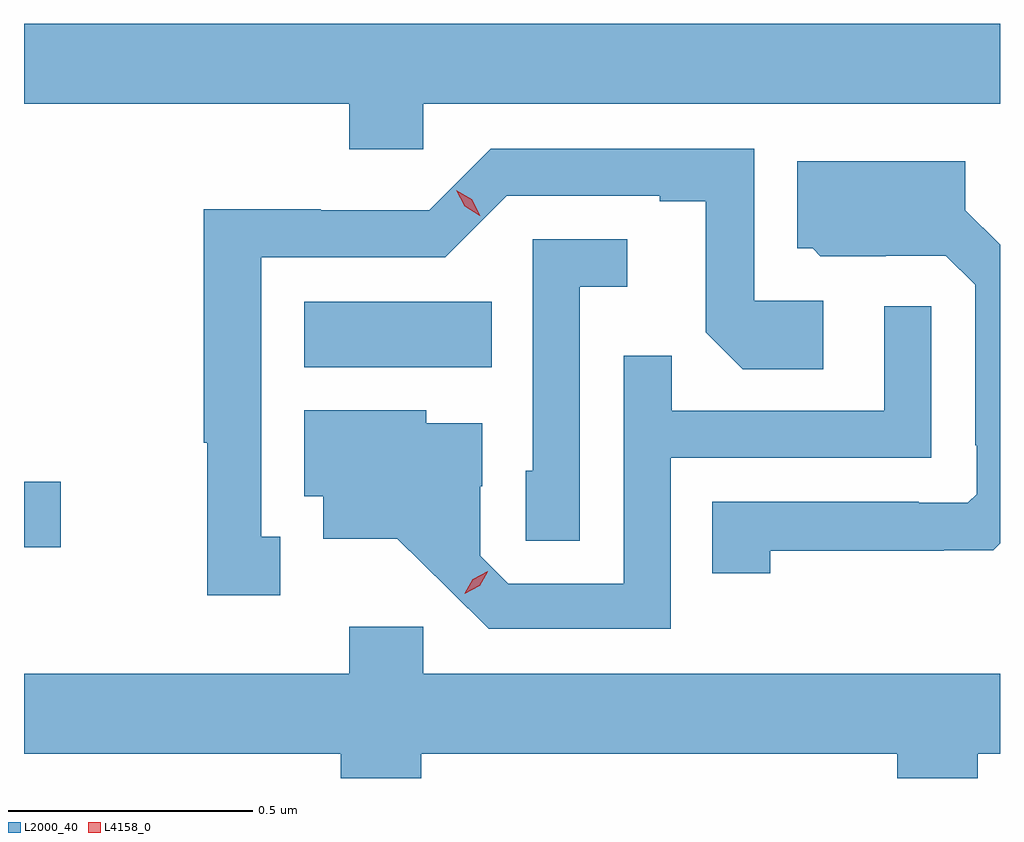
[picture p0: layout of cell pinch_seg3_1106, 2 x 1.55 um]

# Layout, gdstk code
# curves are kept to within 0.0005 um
import gdstk
lib = gdstk.Library(unit=1e-6, precision=1e-09)
def R(c, l, rs):  # rectangles x0, y0, x1, y1
    for r in rs: c.add(gdstk.rectangle(r[:2], r[2:], *l))
def P(c, l, *ps):  # polygons
    for p in ps: c.add(gdstk.Polygon(p, *l))
L2000_40 = (2000, 40)
L4158_0 = (4158, 0)

pinch_seg3_1106 = lib.new_cell('pinch_seg3_1106')
R(pinch_seg3_1106, L2000_40, [(323.722,677.363,323.797,677.498), (324.296,677.732,324.68,677.866)])
P(pinch_seg3_1106, L2000_40, [(324.54,678.272),(325.722,678.272),(325.722,678.436),(323.722,678.436),(323.722,678.272),(324.389,678.272),(324.389,678.179),(324.54,678.179)],
  [(324.247,677.385),(324.208,677.385),(324.208,677.958),(324.585,677.958),(324.711,678.084),(325.025,678.084),(325.025,678.072),(325.119,678.072),(325.119,677.804),(325.195,677.728),(325.36,677.728),(325.36,677.868),(325.218,677.868),(325.218,678.18),(324.678,678.18),(324.552,678.054),(324.33,678.054),(324.33,678.056),(324.09,678.056),(324.09,677.577),(324.097,677.577),(324.097,677.265),(324.247,677.265)],
  [(325.251,677.356),(325.607,677.356),(325.607,677.357),(325.708,677.357),(325.722,677.371),(325.722,677.983),(325.651,678.054),(325.651,678.154),(325.307,678.154),(325.307,677.976),(325.338,677.976),(325.354,677.96),(325.488,677.96),(325.488,677.961),(325.611,677.961),(325.671,677.901),(325.671,677.572),(325.674,677.572),(325.674,677.472),(325.656,677.454),(325.556,677.454),(325.556,677.457),(325.132,677.457),(325.132,677.31),(325.251,677.31)],
  [(324.861,677.897),(324.958,677.897),(324.958,677.994),(324.765,677.994),(324.765,677.52),(324.75,677.52),(324.75,677.377),(324.861,677.377)],
  [(325.047,677.547),(325.581,677.547),(325.581,677.857),(325.485,677.857),(325.485,677.643),(325.049,677.643),(325.049,677.756),(324.951,677.756),(324.951,677.289),(324.714,677.289),(324.657,677.346),(324.657,677.488),(324.661,677.488),(324.661,677.617),(324.546,677.617),(324.546,677.644),(324.296,677.644),(324.296,677.468),(324.335,677.468),(324.335,677.381),(324.487,677.381),(324.674,677.196),(325.047,677.196)],
  [(324.389,677.104),(323.722,677.104),(323.722,676.94),(324.371,676.94),(324.371,676.89),(324.536,676.89),(324.536,676.94),(325.511,676.94),(325.511,676.89),(325.676,676.89),(325.676,676.94),(325.722,676.94),(325.722,677.104),(324.54,677.104),(324.54,677.2),(324.389,677.2)])
P(pinch_seg3_1106, L4158_0, [(324.625,677.268),(324.625,677.269),(324.642,677.298),(324.672,677.314),(324.672,677.314),(324.672,677.313),(324.656,677.284),(324.625,677.268)],
  [(324.656,678.043),(324.625,678.062),(324.608,678.095),(324.608,678.095),(324.608,678.095),(324.64,678.076),(324.657,678.043),(324.657,678.043)])

lib.write_gds('pinch_seg3_1106.gds')
